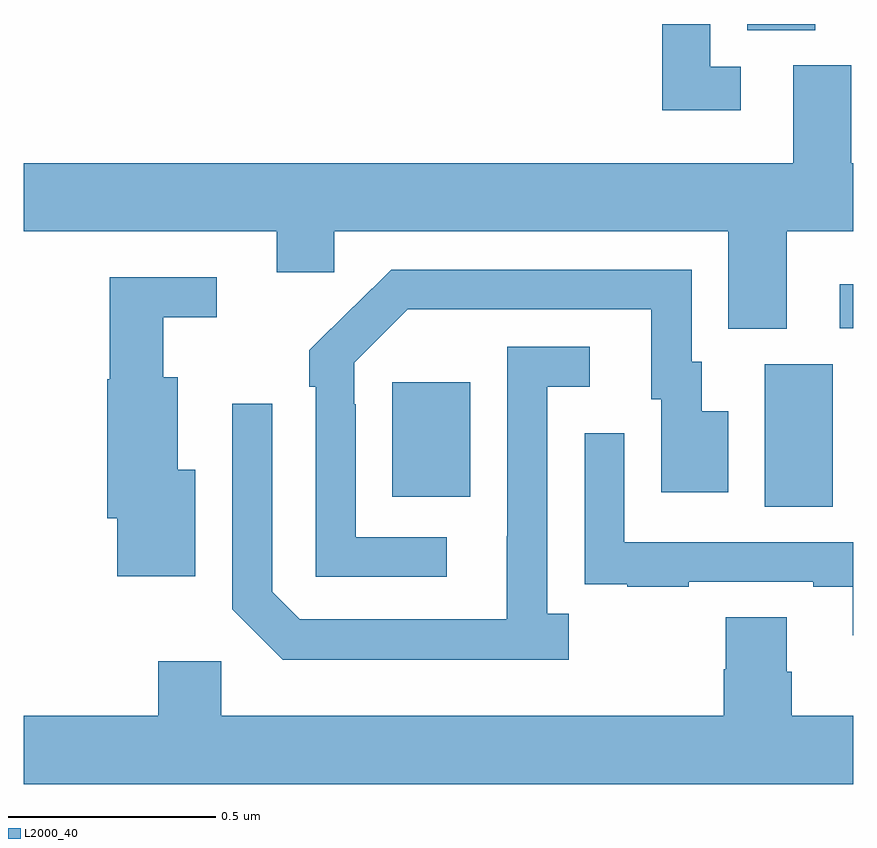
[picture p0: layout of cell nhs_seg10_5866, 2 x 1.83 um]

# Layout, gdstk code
import gdstk
lib = gdstk.Library(unit=1e-6, precision=1e-09)
def R(c, l, rs):  # rectangles x0, y0, x1, y1
    for r in rs: c.add(gdstk.rectangle(r[:2], r[2:], *l))
def P(c, l, *ps):  # polygons
    for p in ps: c.add(gdstk.Polygon(p, *l))
L2000_40 = (2000, 40)

nhs_seg10_5866 = lib.new_cell('nhs_seg10_5866')
R(nhs_seg10_5866, L2000_40, [(185.786,1282.336,185.95,1282.68), (184.889,1282.361,185.077,1282.636), (185.967,1282.767,186,1282.873), (185.744,1283.485,185.908,1283.5)])
P(nhs_seg10_5866, L2000_40, [(185.728,1283.397),(185.655,1283.397),(185.655,1283.5),(185.539,1283.5),(185.539,1283.292),(185.728,1283.292)],
  [(185.839,1283),(186,1283),(186,1283.164),(185.995,1283.164),(185.995,1283.4),(185.855,1283.4),(185.855,1283.164),(184,1283.164),(184,1283),(184.61,1283),(184.61,1282.902),(184.749,1282.902),(184.749,1283),(185.699,1283),(185.699,1282.765),(185.839,1282.765)],
  [(185.02,1282.263),(184.8,1282.263),(184.8,1282.583),(184.797,1282.583),(184.797,1282.683),(184.926,1282.812),(185.513,1282.812),(185.513,1282.596),(185.537,1282.596),(185.537,1282.371),(185.698,1282.371),(185.698,1282.567),(185.635,1282.567),(185.635,1282.686),(185.61,1282.686),(185.61,1282.908),(184.886,1282.908),(184.795,1282.817),(184.794,1282.818),(184.689,1282.713),(184.689,1282.625),(184.704,1282.625),(184.704,1282.167),(185.02,1282.167)],
  [(184.414,1282.426),(184.372,1282.426),(184.372,1282.648),(184.336,1282.648),(184.336,1282.793),(184.465,1282.793),(184.465,1282.89),(184.207,1282.89),(184.207,1282.644),(184.202,1282.644),(184.202,1282.308),(184.226,1282.308),(184.226,1282.169),(184.414,1282.169)],
  [(185.314,1282.078),(185.262,1282.078),(185.262,1282.626),(185.365,1282.626),(185.365,1282.722),(185.166,1282.722),(185.166,1282.265),(185.165,1282.265),(185.165,1282.065),(184.665,1282.065),(184.599,1282.131),(184.599,1282.585),(184.503,1282.585),(184.503,1282.089),(184.624,1281.968),(185.314,1281.968)],
  [(186,1282.251),(185.448,1282.251),(185.448,1282.513),(185.352,1282.513),(185.352,1282.258),(185.353,1282.258),(185.353,1282.149),(185.455,1282.149),(185.455,1282.143),(185.603,1282.143),(185.603,1282.155),(185.903,1282.155),(185.903,1282.143),(185.999,1282.143),(185.999,1282.026),(186,1282.026)],
  [(186,1281.832),(185.852,1281.832),(185.852,1281.938),(185.839,1281.938),(185.839,1282.07),(185.692,1282.07),(185.692,1281.945),(185.687,1281.945),(185.687,1281.832),(184.476,1281.832),(184.476,1281.964),(184.325,1281.964),(184.325,1281.832),(184,1281.832),(184,1281.668),(186,1281.668)])

lib.write_gds('nhs_seg10_5866.gds')
